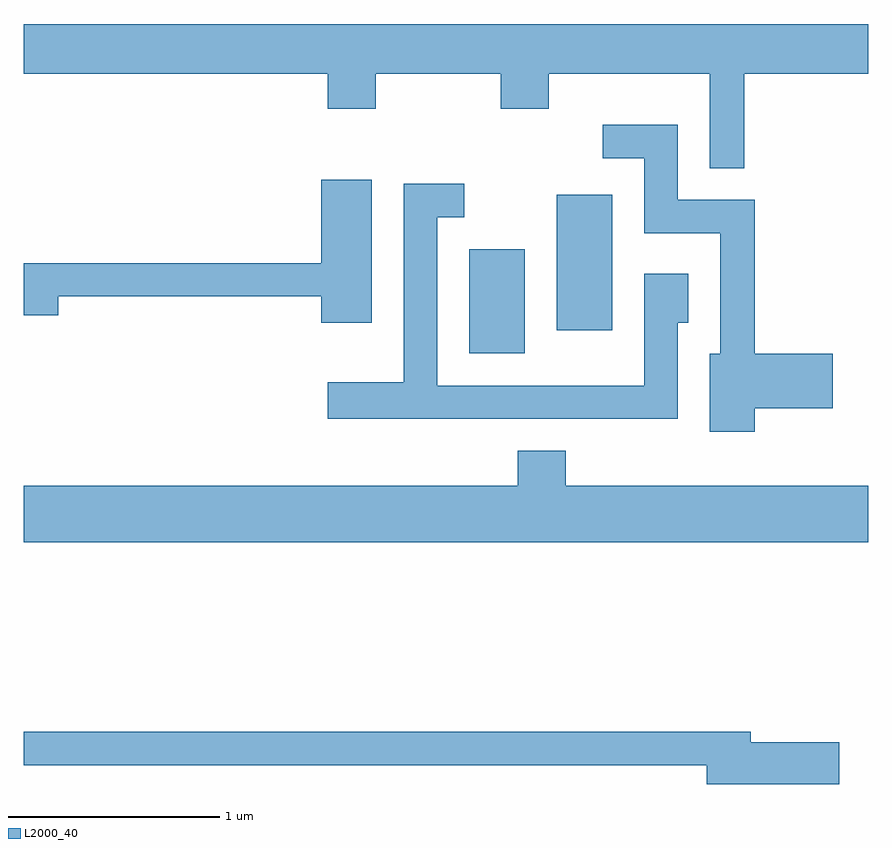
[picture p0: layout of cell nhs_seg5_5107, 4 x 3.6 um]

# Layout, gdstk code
import gdstk
lib = gdstk.Library(unit=1e-6, precision=1e-09)
def R(c, l, rs):  # rectangles x0, y0, x1, y1
    for r in rs: c.add(gdstk.rectangle(r[:2], r[2:], *l))
def P(c, l, *ps):  # polygons
    for p in ps: c.add(gdstk.Polygon(p, *l))
L2000_40 = (2000, 40)

nhs_seg5_5107 = lib.new_cell('nhs_seg5_5107')
R(nhs_seg5_5107, L2000_40, [(337.721,1526.511,337.984,1527.004), (338.136,1526.621,338.399,1527.264)])
P(nhs_seg5_5107, L2000_40, [(339.024,1527.836),(339.611,1527.836),(339.611,1528.072),(335.611,1528.072),(335.611,1527.836),(337.051,1527.836),(337.051,1527.671),(337.279,1527.671),(337.279,1527.836),(337.871,1527.836),(337.871,1527.671),(338.099,1527.671),(338.099,1527.836),(338.861,1527.836),(338.861,1527.388),(339.024,1527.388)],
  [(339.074,1526.251),(339.444,1526.251),(339.444,1526.509),(339.074,1526.509),(339.074,1527.239),(338.709,1527.239),(338.709,1527.594),(338.353,1527.594),(338.353,1527.436),(338.551,1527.436),(338.551,1527.081),(338.911,1527.081),(338.911,1526.509),(338.861,1526.509),(338.861,1526.141),(339.074,1526.141)],
  [(337.259,1527.334),(337.021,1527.334),(337.021,1526.939),(335.611,1526.939),(335.611,1526.691),(335.774,1526.691),(335.774,1526.781),(337.021,1526.781),(337.021,1526.656),(337.259,1526.656)],
  [(338.709,1526.656),(338.759,1526.656),(338.759,1526.889),(338.551,1526.889),(338.551,1526.359),(337.569,1526.359),(337.569,1527.156),(337.698,1527.156),(337.698,1527.314),(337.411,1527.314),(337.411,1526.374),(337.051,1526.374),(337.051,1526.201),(338.709,1526.201)],
  [(339.611,1525.884),(338.179,1525.884),(338.179,1526.049),(337.951,1526.049),(337.951,1525.884),(335.611,1525.884),(335.611,1525.616),(339.611,1525.616)],
  [(339.474,1524.669),(339.054,1524.669),(339.054,1524.719),(335.611,1524.719),(335.611,1524.561),(338.846,1524.561),(338.846,1524.471),(339.474,1524.471)])

lib.write_gds('nhs_seg5_5107.gds')
